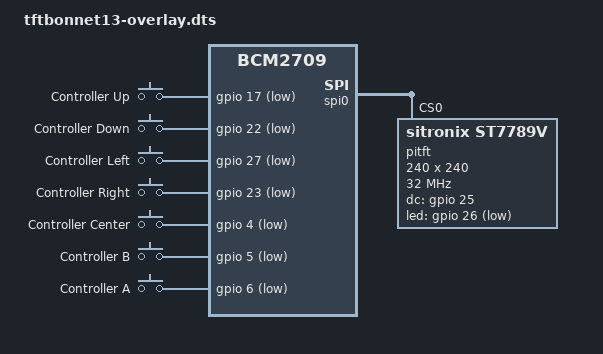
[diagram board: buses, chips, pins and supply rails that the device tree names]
/*
 * Device Tree overlay for Adafruit TFT Bonnet 1.3" 240x240 Display + Joystick
 *
 */

/dts-v1/;
/plugin/;

/ {
        compatible = "brcm,bcm2835", "brcm,bcm2708", "brcm,bcm2709";

        fragment@0 {
                target = <&spi0>;
                __overlay__ {
                        status = "okay";

                        spidev@0{
                                status = "disabled";
                        };

                        spidev@1{
                                status = "disabled";
                        };
                };
        };

        fragment@1 {
                target = <&gpio>;
                __overlay__ {
                        pitft_pins: pitft_pins {
                                brcm,pins = <25>;
                                brcm,function = <1>; /* out */
                                brcm,pull = <0>; /* none */
                        };
                };
        };

        fragment@2 {
                target = <&spi0>;
                __overlay__ {
                        /* needed to avoid dtc warning */
                        #address-cells = <1>;
                        #size-cells = <0>;

                        pitft: pitft@0{
                                compatible = "sitronix,st7789v";
                                reg = <0>;
                                pinctrl-names = "default";
                                pinctrl-0 = <&pitft_pins>;
                                spi-max-frequency = <32000000>;
                                rotate = <0>;
                                width = <240>;
                                height = <240>;
                                buswidth = <8>;
                                dc-gpios = <&gpio 25 0>;
                                led-gpios = <&gpio 26 1>;
                                debug = <0>;
                        };
                };
        };
	
        fragment@3 {
                target-path = "/";
                __overlay__ {
                        keypad: tft_bonnet_keys {
                                compatible = "gpio-keys";

                                button@17 {
                                        label = "Controller Up";
                                        linux,code = <103>;
                                        gpios = <&gpio 17 1>;
                                };
                                button@22 {
                                        label = "Controller Down";
                                        linux,code = <108>;
                                        gpios = <&gpio 22 1>;
                                };
                                button@27 {
                                        label = "Controller Left";
                                        linux,code = <105>;
                                        gpios = <&gpio 27 1>;
                                };
                                button@23 {
                                        label = "Controller Right";
                                        linux,code = <106>;
                                        gpios = <&gpio 23 1>;
                                };
                                button@4 {
                                        label = "Controller Center";
                                        linux,code = <28>;
                                        gpios = <&gpio 4 1>;
                                };
                                button@5 {
                                        label = "Controller B";
                                        linux,code = <48>;
                                        gpios = <&gpio 5 1>;
                                };
                                button@6 {
                                        label = "Controller A";
                                        linux,code = <30>;
                                        gpios = <&gpio 6 1>;
                                };
                        };
                };
        };

        __overrides__ {
                speed =   <&pitft>,"spi-max-frequency:0";
                rotate =  <&pitft>,"rotate:0";
                width =   <&pitft>,"width:0";
                height =  <&pitft>,"height:0";
                fps =     <&pitft>,"fps:0";
                debug =   <&pitft>,"debug:0";
        };
};
